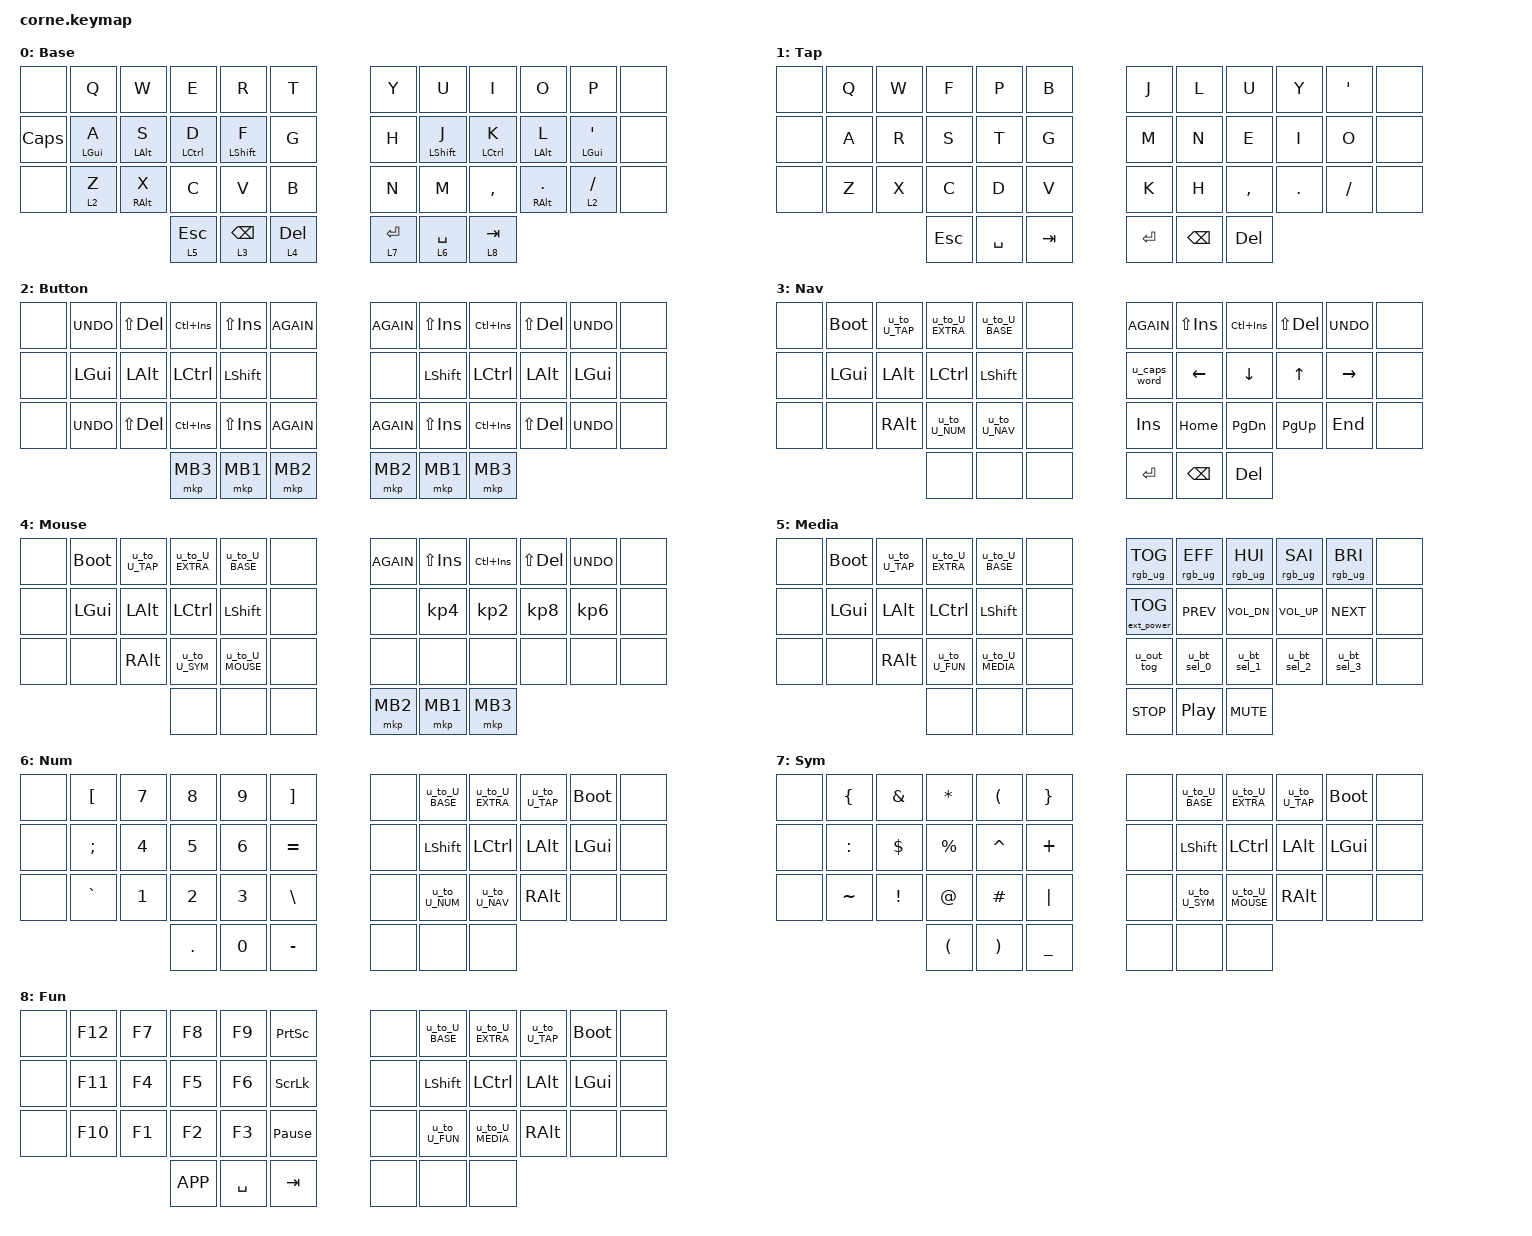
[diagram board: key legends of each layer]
//#line 4 "/mnt/c/Users/natha/Documents/Corne/miryoku_zmk/miryoku/miryoku.dtsi"

#include <behaviors/mouse_key_press.dtsi>

//#line 18 "/mnt/c/Users/natha/Documents/Corne/miryoku_zmk/miryoku/miryoku.dtsi"

#include <dt-bindings/zmk/mouse.h>
#include <behaviors.dtsi>
#include <dt-bindings/zmk/bt.h>
#include <dt-bindings/zmk/ext_power.h>
#include <dt-bindings/zmk/keys.h>
#include <dt-bindings/zmk/outputs.h>
#include <dt-bindings/zmk/rgb.h>

/ {
    keymap {
        compatible = "zmk,keymap";

        BASE {
            label = "Base";
            bindings = <
&none         &kp Q          &kp W              &kp E           &kp R                &kp T          &kp Y        &kp U           &kp I           &kp O            &kp P            &none
&kp CAPSLOCK  &lu_mt LGUI A  &lu_mt LEFT_ALT S  &lu_mt LCTRL D  &lu_mt LEFT_SHIFT F  &kp G          &kp H        &ru_mt LSHFT J  &ru_mt LCTRL K  &ru_mt LALT L    &ru_mt LGUI SQT  &none
&none         &u_lt 2 Z      &lu_mt RALT X      &kp C           &kp V                &kp B          &kp N        &kp M           &kp COMMA       &ru_mt RALT DOT  &u_lt 2 SLASH    &none
                                                &u_lt 5 ESC     &u_lt 3 BSPC         &u_lt 4 DEL    &u_lt 7 RET  &u_lt 6 SPACE   &u_lt 8 TAB
            >;
        };

        TAP {
            label = "Tap";
            bindings = <
&none  &kp Q  &kp W  &kp F    &kp P      &kp B      &kp J    &kp L     &kp U      &kp Y    &kp SQT    &none
&none  &kp A  &kp R  &kp S    &kp T      &kp G      &kp M    &kp N     &kp E      &kp I    &kp O      &none
&none  &kp Z  &kp X  &kp C    &kp D      &kp V      &kp K    &kp H     &kp COMMA  &kp DOT  &kp SLASH  &none
                     &kp ESC  &kp SPACE  &kp TAB    &kp RET  &kp BSPC  &kp DEL
            >;
        };

        BUTTON {
            label = "Button";
            bindings = <
&none  &kp K_UNDO  &kp LS(DEL)  &kp LC(INS)  &kp LS(INS)  &kp K_AGAIN    &kp K_AGAIN  &kp LS(INS)  &kp LC(INS)  &kp LS(DEL)  &kp K_UNDO  &none
&none  &kp LGUI    &kp LALT     &kp LCTRL    &kp LSHFT    &none          &none        &kp LSHFT    &kp LCTRL    &kp LALT     &kp LGUI    &none
&none  &kp K_UNDO  &kp LS(DEL)  &kp LC(INS)  &kp LS(INS)  &kp K_AGAIN    &kp K_AGAIN  &kp LS(INS)  &kp LC(INS)  &kp LS(DEL)  &kp K_UNDO  &none
                                &mkp MB3     &mkp MB1     &mkp MB2       &mkp MB2     &mkp MB1     &mkp MB3
            >;
        };

        NAV {
            label = "Nav";
            bindings = <
&none  &bootloader  &u_to_U_TAP  &u_to_U_EXTRA  &u_to_U_BASE  &none    &kp K_AGAIN   &kp LS(INS)  &kp LC(INS)  &kp LS(DEL)  &kp K_UNDO  &none
&none  &kp LGUI     &kp LALT     &kp LCTRL      &kp LSHFT     &none    &u_caps_word  &kp LEFT     &kp DOWN     &kp UP       &kp RIGHT   &none
&none  &none        &kp RALT     &u_to_U_NUM    &u_to_U_NAV   &none    &kp INS       &kp HOME     &kp PG_DN    &kp PG_UP    &kp END     &none
                                 &none          &none         &none    &kp RET       &kp BSPC     &kp DEL
            >;
        };

        MOUSE {
            label = "Mouse";
            bindings = <
&none  &bootloader  &u_to_U_TAP  &u_to_U_EXTRA  &u_to_U_BASE   &none    &kp K_AGAIN  &kp LS(INS)  &kp LC(INS)  &kp LS(DEL)  &kp K_UNDO  &none
&none  &kp LGUI     &kp LALT     &kp LCTRL      &kp LSHFT      &none    &none        &kp KP_N4    &kp KP_N2    &kp KP_N8    &kp KP_N6   &none
&none  &none        &kp RALT     &u_to_U_SYM    &u_to_U_MOUSE  &none    &none        &none        &none        &none        &none       &none
                                 &none          &none          &none    &mkp MB2     &mkp MB1     &mkp MB3
            >;
        };

        MEDIA {
            label = "Media";
            bindings = <
&none  &bootloader  &u_to_U_TAP  &u_to_U_EXTRA  &u_to_U_BASE   &none    &rgb_ug RGB_TOG    &rgb_ug RGB_EFF  &rgb_ug RGB_HUI  &rgb_ug RGB_SAI  &rgb_ug RGB_BRI  &none
&none  &kp LGUI     &kp LALT     &kp LCTRL      &kp LSHFT      &none    &ext_power EP_TOG  &kp C_PREV       &kp C_VOL_DN     &kp C_VOL_UP     &kp C_NEXT       &none
&none  &none        &kp RALT     &u_to_U_FUN    &u_to_U_MEDIA  &none    &u_out_tog         &u_bt_sel_0      &u_bt_sel_1      &u_bt_sel_2      &u_bt_sel_3      &none
                                 &none          &none          &none    &kp C_STOP         &kp C_PP         &kp C_MUTE
            >;
        };

        NUM {
            label = "Num";
            bindings = <
&none  &kp LBKT   &kp N7  &kp N8   &kp N9  &kp RBKT     &none  &u_to_U_BASE  &u_to_U_EXTRA  &u_to_U_TAP  &bootloader  &none
&none  &kp SEMI   &kp N4  &kp N5   &kp N6  &kp EQUAL    &none  &kp LSHFT     &kp LCTRL      &kp LALT     &kp LGUI     &none
&none  &kp GRAVE  &kp N1  &kp N2   &kp N3  &kp BSLH     &none  &u_to_U_NUM   &u_to_U_NAV    &kp RALT     &none        &none
                          &kp DOT  &kp N0  &kp MINUS    &none  &none         &none
            >;
        };

        SYM {
            label = "Sym";
            bindings = <
&none  &kp LBRC   &kp AMPS  &kp ASTRK  &kp LPAR   &kp RBRC     &none  &u_to_U_BASE  &u_to_U_EXTRA  &u_to_U_TAP  &bootloader  &none
&none  &kp COLON  &kp DLLR  &kp PRCNT  &kp CARET  &kp PLUS     &none  &kp LSHFT     &kp LCTRL      &kp LALT     &kp LGUI     &none
&none  &kp TILDE  &kp EXCL  &kp AT     &kp HASH   &kp PIPE     &none  &u_to_U_SYM   &u_to_U_MOUSE  &kp RALT     &none        &none
                            &kp LPAR   &kp RPAR   &kp UNDER    &none  &none         &none
            >;
        };

        FUN {
            label = "Fun";
            bindings = <
&none  &kp F12  &kp F7  &kp F8     &kp F9     &kp PSCRN          &none  &u_to_U_BASE  &u_to_U_EXTRA  &u_to_U_TAP  &bootloader  &none
&none  &kp F11  &kp F4  &kp F5     &kp F6     &kp SLCK           &none  &kp LSHFT     &kp LCTRL      &kp LALT     &kp LGUI     &none
&none  &kp F10  &kp F1  &kp F2     &kp F3     &kp PAUSE_BREAK    &none  &u_to_U_FUN   &u_to_U_MEDIA  &kp RALT     &none        &none
                        &kp K_APP  &kp SPACE  &kp TAB            &none  &none         &none
            >;
        };
    };
};

//#line 21 "/mnt/c/Users/natha/Documents/Corne/miryoku_zmk/miryoku/



/ {
    behaviors {
        u_bt_sel_0: u_bt_sel_0 {
            compatible = "zmk,behavior-mod-morph";
            label = "u_bt_sel_0";
            #binding-cells = <0>;
            bindings = <&bt BT_SEL 0>, <&u_macro_u_bt_sel_0>;

            mods = <(MOD_LSFT|MOD_RSFT)>;
        };
    };
};

/ {
    macros {
        u_macro_u_bt_sel_1: u_macro_u_bt_sel_1 {
            label = "ZM_u_macro_u_bt_sel_1";
            compatible = "zmk,behavior-macro";
            #binding-cells = <0>;
            wait-ms = <0>;
            bindings = <&bt BT_SEL 1 &bt BT_CLR>;
        };
    };
};

/ {
    behaviors {
        u_bt_sel_1: u_bt_sel_1 {
            compatible = "zmk,behavior-mod-morph";
            label = "u_bt_sel_1";
            #binding-cells = <0>;
            bindings = <&bt BT_SEL 1>, <&u_macro_u_bt_sel_1>;

            mods = <(MOD_LSFT|MOD_RSFT)>;
        };
    };
};

/ {
    macros {
        u_macro_u_bt_sel_2: u_macro_u_bt_sel_2 {
            label = "ZM_u_macro_u_bt_sel_2";
            compatible = "zmk,behavior-macro";
            #binding-cells = <0>;
            wait-ms = <0>;
            bindings = <&bt BT_SEL 2 &bt BT_CLR>;
        };
    };
};

/ {
    behaviors {
        u_bt_sel_2: u_bt_sel_2 {
            compatible = "zmk,behavior-mod-morph";
            label = "u_bt_sel_2";
            #binding-cells = <0>;
            bindings = <&bt BT_SEL 2>, <&u_macro_u_bt_sel_2>;

            mods = <(MOD_LSFT|MOD_RSFT)>;
        };
    };
};

/ {
    macros {
        u_macro_u_bt_sel_3: u_macro_u_bt_sel_3 {
            label = "ZM_u_macro_u_bt_sel_3";
            compatible = "zmk,behavior-macro";
            #binding-cells = <0>;
            wait-ms = <0>;
            bindings = <&bt BT_SEL 3 &bt BT_CLR>;
        };
    };
};

/ {
    behaviors {
        u_bt_sel_3: u_bt_sel_3 {
            compatible = "zmk,behavior-mod-morph";
            label = "u_bt_sel_3";
            #binding-cells = <0>;
            bindings = <&bt BT_SEL 3>, <&u_macro_u_bt_sel_3>;

            mods = <(MOD_LSFT|MOD_RSFT)>;
        };
    };
};


/ {
    behaviors {
        u_bt_sel_4: u_bt_sel_4 {
            compatible = "zmk,behavior-mod-morph";
            label = "u_bt_sel_4";
            #binding-cells = <0>;
            bindings = <&bt BT_SEL 4>, <&u_macro_u_bt_sel_4>;

            mods = <(MOD_LSFT|MOD_RSFT)>;
        };
    };
};

/ {
    behaviors {
        u_out_tog: u_out_tog {
            compatible = "zmk,behavior-mod-morph";
            label = "u_out_tog";
            #binding-cells = <0>;
            bindings = <&out OUT_TOG>, <&out OUT_USB>;

            mods = <(MOD_LSFT|MOD_RSFT)>;
        };
    };
};

/ {
    behaviors {
        u_caps_word: u_caps_word {
            compatible = "zmk,behavior-mod-morph";
            label = "u_caps_word";
            #binding-cells = <0>;
            bindings = <&caps_word>, <&kp CAPS>;
            mods = <(MOD_LSFT|MOD_RSFT)>;
        };
    };
};

//#line 19 "/mnt/c/Users/natha/Documents/Corne/miryoku_zmk/miryoku/

/ {
    behaviors {
        u_to_U_BASE: u_to_U_BASE {
            compatible = "zmk,behavior-tap-dance";
            label = "u_to_U_BASE";
            #binding-cells = <0>;
            tapping-term-ms = <200>;
            bindings = <&none>, <&to 0>;
        };
    };
};

/ {
    behaviors {
        u_to_U_EXTRA: u_to_U_EXTRA {
            compatible = "zmk,behavior-tap-dance";
            label = "u_to_U_EXTRA";
            #binding-cells = <0>;
            tapping-term-ms = <200>;
            bindings = <&none>, <&to 0>;
        };
    };
};

/ {
    behaviors {
        u_to_U_TAP: u_to_U_TAP {
            compatible = "zmk,behavior-tap-dance";
            label = "u_to_U_TAP";
            #binding-cells = <0>;
            tapping-term-ms = <200>;
            bindings = <&none>, <&to 1>;
        };
    };
};

/ {
    behaviors {
        u_to_U_BUTTON: u_to_U_BUTTON {
            compatible = "zmk,behavior-tap-dance";
            label = "u_to_U_BUTTON";
            #binding-cells = <0>;
            tapping-term-ms = <200>;
            bindings = <&none>, <&to 2>;
        };
    };
};

/ {
    behaviors {
        u_to_U_NAV: u_to_U_NAV {
            compatible = "zmk,behavior-tap-dance";
            label = "u_to_U_NAV";
            #binding-cells = <0>;
            tapping-term-ms = <200>;
            bindings = <&none>, <&to 3>;
        };
    };
};

/ {
    behaviors {
        u_to_U_MOUSE: u_to_U_MOUSE {
            compatible = "zmk,behavior-tap-dance";
            label = "u_to_U_MOUSE";
            #binding-cells = <0>;
            tapping-term-ms = <200>;
            bindings = <&none>, <&to 4>;
        };
    };
};

/ {
    behaviors {
        u_to_U_MEDIA: u_to_U_MEDIA {
            compatible = "zmk,behavior-tap-dance";
            label = "u_to_U_MEDIA";
            #binding-cells = <0>;
            tapping-term-ms = <200>;
            bindings = <&none>, <&to 5>;
        };
    };
};

/ {
    behaviors {
        u_to_U_NUM: u_to_U_NUM {
            compatible = "zmk,behavior-tap-dance";
            label = "u_to_U_NUM";
            #binding-cells = <0>;
            tapping-term-ms = <200>;
            bindings = <&none>, <&to 6>;
        };
    };
};

/ {
    behaviors {
        u_to_U_SYM: u_to_U_SYM {
            compatible = "zmk,behavior-tap-dance";
            label = "u_to_U_SYM";
            #binding-cells = <0>;
            tapping-term-ms = <200>;
            bindings = <&none>, <&to 7>;
        };
    };
};

/ {
    behaviors {
        u_to_U_FUN: u_to_U_FUN {
            compatible = "zmk,behavior-tap-dance";
            label = "u_to_U_FUN";
            #binding-cells = <0>;
            tapping-term-ms = <200>;
            bindings = <&none>, <&to 8>;
        };
    };
};


/ {
    macros {
        u_macro_u_bt_sel_0: u_macro_u_bt_sel_0 {
            label = "ZM_u_macro_u_bt_sel_0";
            compatible = "zmk,behavior-macro";
            #binding-cells = <0>;
            wait-ms = <0>;
            bindings = <&bt BT_SEL 0 &bt BT_CLR>;
        };
    };
};

/ {
    macros {
        u_macro_btn1: u_macro_btn1 {
            label = "ZM_u_macro_btn1";
            compatible = "zmk,behavior-macro";
            #binding-cells = <0>;
            wait-ms = <0>;
            bindings = <&kp KP_SLASH &kp KP_N5>;
        };
    };
};

/ {
    macros {
        u_macro_u_bt_sel_4: u_macro_u_bt_sel_4 {
            label = "ZM_u_macro_u_bt_sel_4";
            compatible = "zmk,behavior-macro";
            #binding-cells = <0>;
            wait-ms = <0>;
            bindings = <&bt BT_SEL 4 &bt BT_CLR>;
        };
    };
};

/ {
    macros {
        u_macro_btn2: u_macro_btn2 {
            label = "ZM_u_macro_btn2";
            compatible = "zmk,behavior-macro";
            #binding-cells = <0>;
            wait-ms = <0>;
            bindings = <&kp KP_MINUS &kp KP_N5>;
        };
    };
};

/ {
    macros {
        u_macro_btn3: u_macro_btn3 {
            label = "ZM_u_macro_btn3";
            compatible = "zmk,behavior-macro";
            #binding-cells = <0>;
            wait-ms = <0>;
            bindings = <&kp KP_ASTERISK &kp KP_N5>;
        };
    };
};

//#line 4 "/mnt/c/Users/natha/Documents/Corne/miryoku_zmk/miryoku/


/ {
    behaviors {
        ru_mt: ru_mt {
            compatible = "zmk,behavior-hold-tap";
            label = "RU_MT";
            #binding-cells = <2>;
            tapping_term_ms = <200>;
            flavor = "balanced";
            bindings = <&kp>, <&kp>;

            tapping-term-ms = <280>;
            hold-trigger-key-positions = <6 7 8 9 10 11 18 19 20 21 22 23 30 31 32 33 34 35>;
            hold-trigger-on-release;
            require-prior-idle-ms = <150>;
            quick-tap-ms = <175>;
        };

        u_lt: u_lt {
            compatible = "zmk,behavior-hold-tap";
            label = "u_lt";
            #binding-cells = <2>;
            tapping_term_ms = <200>;
            flavor = "tap-preferred";
            bindings = <&mo>, <&kp>;
        };

        lu_mt: lu_mt {
            compatible = "zmk,behavior-hold-tap";
            label = "LU_MT";
            #binding-cells = <2>;
            tapping_term_ms = <200>;
            flavor = "balanced";
            bindings = <&kp>, <&kp>;

            tapping-term-ms = <280>;
            hold-trigger-on-release;
            require-prior-idle-ms = <150>;
            quick-tap-ms = <175>;
            hold-trigger-key-positions = <0 1 2 3 4 5 12 13 14 15 16 17 24 25 26 27 28 29>;
        };
    };
};
